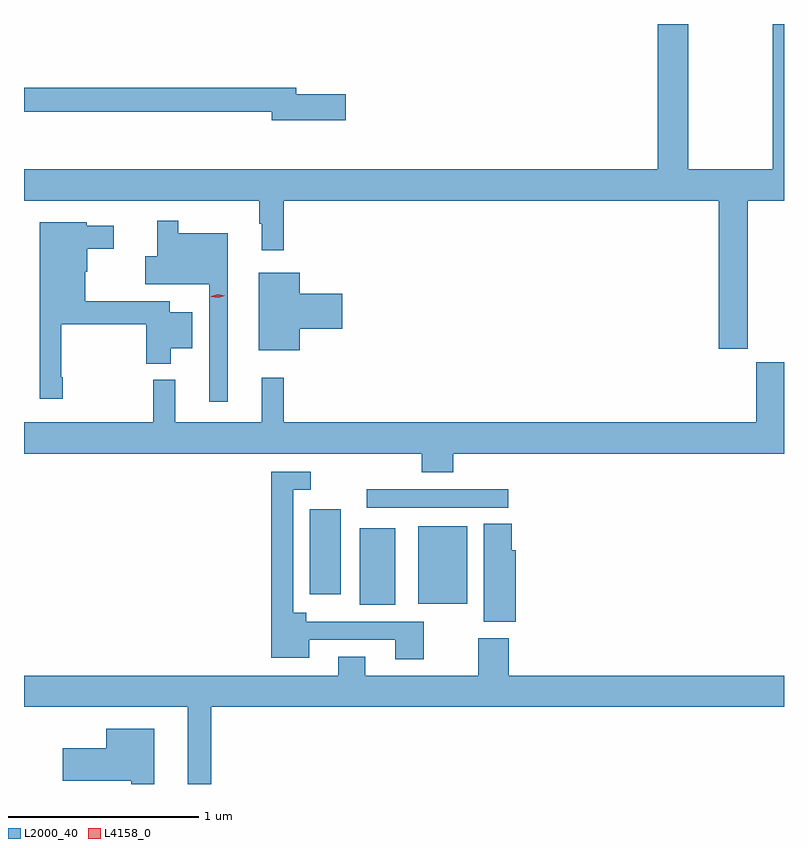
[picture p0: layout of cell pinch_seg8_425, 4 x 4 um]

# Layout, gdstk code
import gdstk
lib = gdstk.Library(unit=1e-6, precision=1e-09)
def R(c, l, rs):  # rectangles x0, y0, x1, y1
    for r in rs: c.add(gdstk.rectangle(r[:2], r[2:], *l))
def P(c, l, *ps):  # polygons
    for p in ps: c.add(gdstk.Polygon(p, *l))
L2000_40 = (2000, 40)
L4158_0 = (4158, 0)

pinch_seg8_425 = lib.new_cell('pinch_seg8_425')
R(pinch_seg8_425, L2000_40, [(293.9,1130.357,294.088,1130.758), (294.209,1130.363,294.466,1130.77), (293.639,1130.412,293.8,1130.86), (293.937,1130.868,294.682,1130.964)])
P(pinch_seg8_425, L2000_40, [(295.942,1132.484),(296.134,1132.484),(296.134,1133.413),(296.074,1133.413),(296.074,1132.648),(295.629,1132.648),(295.629,1133.413),(295.469,1133.413),(295.469,1132.648),(292.134,1132.648),(292.134,1132.484),(293.373,1132.484),(293.373,1132.361),(293.384,1132.361),(293.384,1132.221),(293.501,1132.221),(293.501,1132.484),(295.79,1132.484),(295.79,1131.705),(295.942,1131.705)],
  [(293.827,1133.042),(293.566,1133.042),(293.566,1133.078),(292.134,1133.078),(292.134,1132.95),(293.438,1132.95),(293.438,1132.907),(293.827,1132.907)],
  [(293.206,1132.312),(292.945,1132.312),(292.945,1132.378),(292.834,1132.378),(292.834,1132.191),(292.772,1132.191),(292.772,1132.043),(293.109,1132.043),(293.109,1131.426),(293.206,1131.426)],
  [(292.339,1131.553),(292.331,1131.553),(292.331,1131.832),(292.777,1131.832),(292.777,1131.626),(292.906,1131.626),(292.906,1131.707),(293.02,1131.707),(293.02,1131.895),(292.9,1131.895),(292.9,1131.953),(292.456,1131.953),(292.456,1132.11),(292.468,1132.11),(292.468,1132.229),(292.606,1132.229),(292.606,1132.351),(292.464,1132.351),(292.464,1132.369),(292.217,1132.369),(292.217,1131.441),(292.339,1131.441)],
  [(293.584,1131.809),(293.809,1131.809),(293.809,1131.992),(293.584,1131.992),(293.584,1132.105),(293.369,1132.105),(293.369,1131.695),(293.584,1131.695)],
  [(294.392,1131.152),(296.134,1131.152),(296.134,1131.633),(295.988,1131.633),(295.988,1131.316),(293.501,1131.316),(293.501,1131.55),(293.384,1131.55),(293.384,1131.316),(292.931,1131.316),(292.931,1131.541),(292.813,1131.541),(292.813,1131.316),(292.134,1131.316),(292.134,1131.152),(294.227,1131.152),(294.227,1131.053),(294.392,1131.053)],
  [(294.237,1130.268),(293.62,1130.268),(293.62,1130.314),(293.55,1130.314),(293.55,1130.961),(293.644,1130.961),(293.644,1131.057),(293.434,1131.057),(293.434,1130.078),(293.635,1130.078),(293.635,1130.172),(294.089,1130.172),(294.089,1130.07),(294.237,1130.07)],
  [(294.722,1130.643),(294.701,1130.643),(294.701,1130.783),(294.554,1130.783),(294.554,1130.267),(294.722,1130.267)],
  [(293.119,1129.82),(296.134,1129.82),(296.134,1129.984),(294.686,1129.984),(294.686,1130.179),(294.526,1130.179),(294.526,1129.984),(293.929,1129.984),(293.929,1130.083),(293.789,1130.083),(293.789,1129.984),(292.134,1129.984),(292.134,1129.82),(292.997,1129.82),(292.997,1129.413),(293.119,1129.413)],
  [(292.819,1129.705),(292.568,1129.705),(292.568,1129.6),(292.338,1129.6),(292.338,1129.43),(292.698,1129.43),(292.698,1129.413),(292.819,1129.413)])
P(pinch_seg8_425, L4158_0, [(293.156,1131.971),(293.12,1131.978),(293.119,1131.979),(293.12,1131.979),(293.154,1131.991),(293.19,1131.983),(293.19,1131.983),(293.19,1131.983)])

lib.write_gds('pinch_seg8_425.gds')
